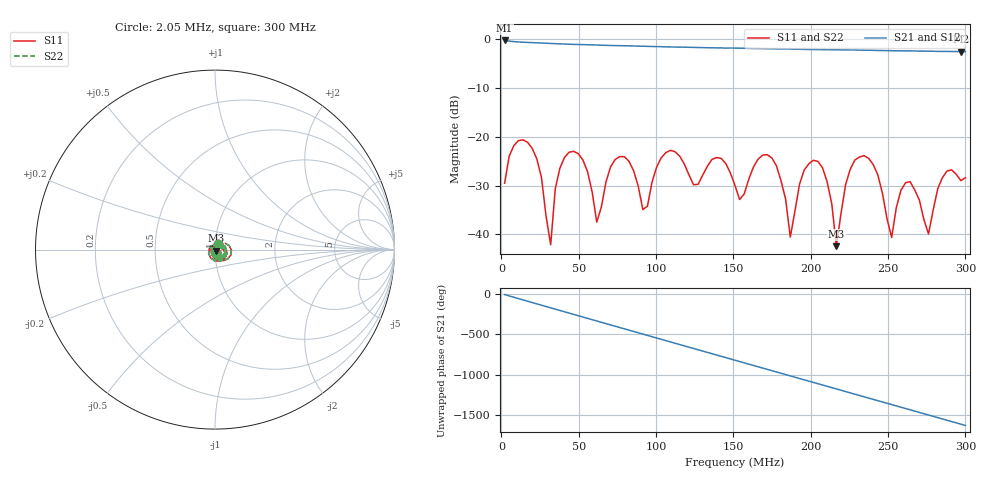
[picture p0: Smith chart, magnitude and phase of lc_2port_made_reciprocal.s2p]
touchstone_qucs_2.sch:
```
<Qucs Schematic 0.0.19>
<Properties>
  <View=0,0,1070,800,1,0,0>
  <Grid=10,10,1>
  <DataSet=touchstone_qucs_2.dat>
  <DataDisplay=touchstone_qucs_2.dpl>
  <OpenDisplay=1>
  <Script=touchstone_qucs_2.m>
  <RunScript=0>
  <showFrame=0>
  <FrameText0=Title>
  <FrameText1=Drawn By:>
  <FrameText2=Date:>
  <FrameText3=Revision:>
</Properties>
<Symbol>
</Symbol>
<Components>
  <GND * 1 150 200 0 0 0 0>
  <Pac P3 1 150 170 18 -26 0 1 "1" 1 "50 Ohm" 1 "0 dBm" 0 "1 GHz" 0 "26.85" 0>
  <SPfile X1 1 320 90 -26 -45 0 0 "/Users/jishnu/codespace/AMATEUR_RADIO/Code_nanovna/CABLE_DATA/lc_2port_made_reciprocal.s2p" 1 "rectangular" 0 "cubic" 0 "open" 0 "2" 0>
  <Pac P4 1 610 160 18 -26 0 1 "2" 1 "0.00000000001 Ohm" 1 "0 dBm" 0 "1 GHz" 0 "26.85" 0>
  <GND * 1 610 200 0 0 0 0>
  <GND * 1 320 200 0 0 0 0>
  <.SP SP2 1 200 270 0 67 0 0 "log" 1 "2 MHz" 1 "300 MHz" 1 "1001" 1 "no" 0 "1" 0 "2" 0 "no" 0 "no" 0>
</Components>
<Wires>
  <150 90 150 140 "" 0 0 0 "">
  <150 90 290 90 "" 0 0 0 "">
  <610 190 610 200 "" 0 0 0 "">
  <320 120 320 200 "" 0 0 0 "">
  <610 90 610 130 "" 0 0 0 "">
  <350 90 610 90 "" 0 0 0 "">
</Wires>
<Diagrams>
</Diagrams>
<Paintings>
</Paintings>
```
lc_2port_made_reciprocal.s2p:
# Hz S RI R 50
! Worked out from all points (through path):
!   101 points, 2.05 MHz to 300 MHz, reference 50 ohm
!   highest |S21| = -0.23 dB at 2.05 MHz (marker M1); lowest = -2.5 dB at 297 MHz (marker M2)
!   group delay of S21, straight-line fit = 15 ns
!   lowest |S11| = -42.4 dB at 216.6 MHz (marker M3), VSWR 1.02, Z = 50.5 - j0.55 ohm
!   |S11| at or under -10 dB: start of sweep to end of sweep
!   |S22| runs from -42.4 to -20.6 dB; largest |S21 - S12| = 0
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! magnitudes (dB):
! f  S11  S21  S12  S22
! 2.05 MHz  -29.5  -0.2  -0.2  -29.5
! 31.84 MHz  -42.1  -0.8  -0.8  -42.1
! 151 MHz  -30.0  -1.8  -1.8  -30.0
! 174.9 MHz  -24.3  -1.9  -1.9  -24.3
! 186.8 MHz  -40.6  -2.0  -2.0  -40.6
! 204.7 MHz  -25.0  -2.1  -2.1  -25.0
! 216.6 MHz  -42.4  -2.1  -2.1  -42.4
! 231.5 MHz  -24.1  -2.2  -2.2  -24.1
! 252.3 MHz  -40.6  -2.3  -2.3  -40.6
! 297 MHz  -29.0  -2.5  -2.5  -29.0
! 300 MHz  -28.4  -2.5  -2.5  -28.4
